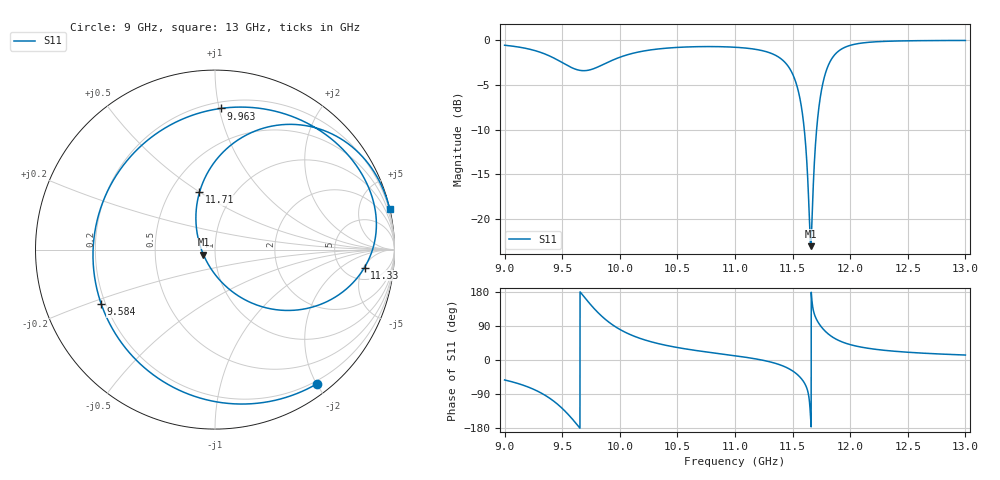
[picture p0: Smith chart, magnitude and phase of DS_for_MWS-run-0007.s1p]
! TOUCHSTONE file generated by CST DESIGN STUDIO
! Date and time: Tue Feb  4 17:48:19 2025
! Project name: C:\Work\MatlabApps\UnitCellOptimizationMatlab\CST\unitcell.cst
! Tree item: Tasks\Sweep1\SPara1\S-Parameters
! Header version: 2024
! Port assignment regex: !\s*Touchstone port\s*([0-9]+)\s*=\s*(CST MWS port|CST DES external port|CST DES block port)\s*(.+)\s* \(\"(.*)\"\)(\s*mode\s*([0-9]+))?.*
! Touchstone port assignment:
! Touchstone port 1 = CST DES external port 1 ("")
# GHz S MA R 50
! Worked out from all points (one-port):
!   4001 points, 9 GHz to 13 GHz, reference 50 ohm
!   lowest |S11| = -23.1 dB at 11.66 GHz (marker M1), VSWR 1.15, Z = 43.9 - j2.55 ohm
!   |S11| at or under -10 dB: 11.6 GHz to 11.71 GHz (106.8 MHz wide, 0.917 % of centre)
!   S11 on the Smith chart (normalised r, x): 9 GHz: 0.16, -2.01; 9.584 GHz: 0.18, -0.22; 9.963 GHz: 0.24, +1.01; 11.33 GHz: 7.83, -5.27; 11.71 GHz: 0.69, +0.50; 13 GHz: 0.04, +8.71
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9  0.9393 -52.7
9.163  0.9078 -66.7
9.315  0.8555 -86.8
9.413  0.805 -105.6
9.5  0.7511 -127.7
9.584  0.7027 -154.4
9.683  0.6765 169.3
9.792  0.7018 130.9
9.873  0.7417 107.6
9.963  0.7875 87.5
10  0.8044 80.8
10.219  0.8746 52.7
10.5  0.9134 32.9
11  0.9152 11.2
11.328  0.839 -6.8
11.5  0.6484 -28.8
11.59  0.3684 -54.8
11.645  0.1016 -106.0
11.657  0.07034 -155.7
11.67  0.1054 150.2
11.711  0.3306 105.2
11.754  0.5401 85.7
11.815  0.7371 67.4
11.9  0.8722 51.6
12  0.9379 40.6
12.19  0.979 29.4
12.5  0.9946 20.5
13  0.999 13.1
